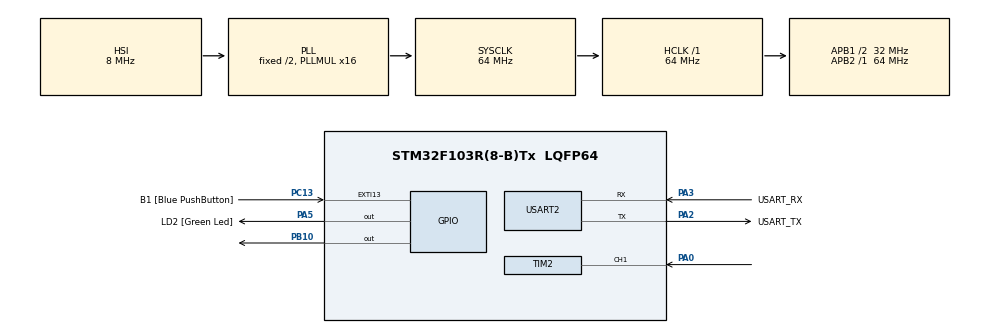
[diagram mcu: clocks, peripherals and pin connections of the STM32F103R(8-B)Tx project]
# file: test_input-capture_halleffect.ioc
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Dma.Request0=TIM2_CH1
Dma.TIM2_CH1.0.Direction=DMA_PERIPH_TO_MEMORY
Dma.TIM2_CH1.0.Instance=DMA1_Channel5
Dma.TIM2_CH1.0.MemDataAlignment=DMA_MDATAALIGN_WORD
Dma.TIM2_CH1.0.MemInc=DMA_MINC_ENABLE
Dma.TIM2_CH1.0.Mode=DMA_NORMAL
Dma.TIM2_CH1.0.PeriphDataAlignment=DMA_PDATAALIGN_WORD
Dma.TIM2_CH1.0.PeriphInc=DMA_PINC_DISABLE
Dma.TIM2_CH1.0.Priority=DMA_PRIORITY_LOW
Mcu.Family=STM32F1
Mcu.Name=STM32F103R(8-B)Tx
Mcu.Package=LQFP64
NVIC.EXTI15_10_IRQn=true\:0\:0\:false\:false\:true\:true\:true
NVIC.PriorityGroup=NVIC_PRIORITYGROUP_4
PA0-WKUP.Signal=S_TIM2_CH1_ETR
PA13.GPIO_Label=TMS
PA13.Mode=Serial_Wire
PA13.Signal=SYS_JTMS-SWDIO
PA14.GPIO_Label=TCK
PA14.Mode=Serial_Wire
PA14.Signal=SYS_JTCK-SWCLK
PA2.GPIO_Label=USART_TX
PA2.GPIO_Mode=GPIO_MODE_AF_PP
PA2.GPIO_PuPd=GPIO_NOPULL
PA2.GPIO_Speed=GPIO_SPEED_FREQ_LOW
PA2.Mode=Asynchronous
PA2.Signal=USART2_TX
PA3.GPIO_Label=USART_RX
PA3.GPIO_Mode=GPIO_MODE_AF_PP
PA3.GPIO_PuPd=GPIO_NOPULL
PA3.GPIO_Speed=GPIO_SPEED_FREQ_LOW
PA3.Mode=Asynchronous
PA3.Signal=USART2_RX
PA5.GPIO_Label=LD2 [Green Led]
PA5.GPIO_ModeDefaultOutputPP=GPIO_MODE_OUTPUT_PP
PA5.GPIO_PuPd=GPIO_NOPULL
PA5.GPIO_Speed=GPIO_SPEED_FREQ_LOW
PA5.Signal=GPIO_Output
PB10.Signal=GPIO_Output
PB3.GPIO_Label=SWO
PB3.Signal=SYS_JTDO-TRACESWO
PC13-TAMPER-RTC.GPIO_Label=B1 [Blue PushButton]
PC13-TAMPER-RTC.GPIO_PuPd=GPIO_NOPULL
PC13-TAMPER-RTC.Signal=GPXTI13
PC14-OSC32_IN.Mode=LSE-External-Oscillator
PC14-OSC32_IN.Signal=RCC_OSC32_IN
PC15-OSC32_OUT.Mode=LSE-External-Oscillator
PC15-OSC32_OUT.Signal=RCC_OSC32_OUT
PD0-OSC_IN.Mode=HSE-External-Clock-Source
PD0-OSC_IN.Signal=RCC_OSC_IN
PD1-OSC_OUT.Mode=HSE-External-Clock-Source
PD1-OSC_OUT.Signal=RCC_OSC_OUT
ProjectManager.HeapSize=0x200
ProjectManager.StackSize=0x400
ProjectManager.TargetToolchain=STM32CubeIDE
RCC.AHBFreq_Value=64000000
RCC.APB1CLKDivider=RCC_HCLK_DIV2
RCC.APB1Freq_Value=32000000
RCC.APB1TimFreq_Value=64000000
RCC.APB2Freq_Value=64000000
RCC.APB2TimFreq_Value=64000000
RCC.HCLKFreq_Value=64000000
RCC.PLLMUL=RCC_PLL_MUL16
RCC.RTCClockSelection=RCC_RTCCLKSOURCE_LSE
RCC.SYSCLKFreq_VALUE=64000000
RCC.SYSCLKSource=RCC_SYSCLKSOURCE_PLLCLK
RCC.USBFreq_Value=64000000
SH.S_TIM2_CH1_ETR.0=TIM2_CH1,Input_Capture1_from_TI1
TIM2.AutoReloadPreload=TIM_AUTORELOAD_PRELOAD_ENABLE
TIM2.Channel-Input_Capture1_from_TI1=TIM_CHANNEL_1
TIM2.ICPolarity_CH1=TIM_INPUTCHANNELPOLARITY_FALLING
USART2.VirtualMode=VM_ASYNC
board=NUCLEO-F103RB

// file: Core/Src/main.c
/* USER CODE BEGIN Header */
/**
  ******************************************************************************
  * @file           : main.c
  * @brief          : Main program body
  ******************************************************************************
  * @attention
  *
  * <h2><center>&copy; Copyright (c) 2021 STMicroelectronics.
  * All rights reserved.</center></h2>
  *
  * This software component is licensed by ST under BSD 3-Clause license,
  * the "License"; You may not use this file except in compliance with the
  * License. You may obtain a copy of the License at:
  *                        opensource.org/licenses/BSD-3-Clause
  *
  ******************************************************************************
  */
/*
 * 	INTRO:
	this is the SENT driver developped by David KAMANA with the help of Ahmed TOUMI in the process
	the lines generate by stm32cubeIDE are not commented
	Some comments about data types:

	- In the DMA data processing, the uint32_t is used  because in the hal library for dma, the start IC allows only "uint32_t"

	*/
	/* USER CODE END Header */
#include "main.h"

/* USER CODE BEGIN Includes */
#include "stdio.h"
/* USER CODE END Includes */

/* USER CODE BEGIN PD */

/*for computing the number of ticks : */
#define TIMFREQ  64000000 // the timer's clock frequency
#define PRESCALAR  1 //the timer's prescaler
#define TICKS_OF_SYNCHRO 56 //number of ticks in synchro
#define SIZE_TAB_ticks 16 //Size of the table of ticks

/*for DMA usage:*/

#define TIM_DMA_Buffer_SIZE 19 //the DMA buffer's size
#define TIM_DMA_FRAME_ticks_SIZE 9 //the size of the table of ticks corresponding to the values  in the DMA buffer

/*for SENT data processing:*/
#define SENT_data_SIZE 8 //the number of SENT data in a frame
#define LOWEST_TICKS 12 //the lowest number of ticks in a SENT frame
/* USER CODE END PD */

TIM_HandleTypeDef htim2;
DMA_HandleTypeDef hdma_tim2_ch1;

UART_HandleTypeDef huart2;

/* USER CODE BEGIN PV */

/*For ticks and frame ckeck:*/
//the table containing  the number of ticks to compare to:
float  tab_ticks[] = {56.0,12.0,13.0,14.0,15.0,16.0,17.0,18.0,19.0,20.0,21.0,22.0,23.0,24.0,25.0,26.0,27.0};
uint16_t NB_frames_ok = 0;//the number of frames that starts with the synchro data, used for debug purposes
uint8_t flag_frame_ok = 0;//the flag that is set if a frame starts with synchro data

/*for DMA:*/
uint32_t TICKS_tab_DMA[TIM_DMA_Buffer_SIZE];//a table that stores the number of ticks per  DMA Data
uint32_t tab_val_DMA[TIM_DMA_Buffer_SIZE];//the table that acts as the destination for DMA data transfer
uint32_t tab_vals[TIM_DMA_FRAME_ticks_SIZE];//the table of values that contain the number of ticks per DMA data if their frame starts with synchro data
uint16_t counter_DMA_requests = 0;//number of times DMA requests are executed i.e after 10 data transfer
HAL_StatusTypeDef DMA_available;//the variable that helps to check whether the DMA is available for the next transfer

/*for SENT protocol:*/
uint32_t SENT_data_tab[SENT_data_SIZE];
/* USER CODE END PV */

void SystemClock_Config(void);
static void MX_GPIO_Init(void);
static void MX_USART2_UART_Init(void);
static void MX_DMA_Init(void);
static void MX_TIM2_Init(void);

/* USER CODE BEGIN PFP */

/*For Computing number of ticks:*/
void tick_data_process(uint32_t* tab_src,  uint32_t* tab_dst);//assigns the DMA data to the corresponding number of ticks as long as the serie of  data starts with synchro
void fill_table_ticks(uint32_t* tab_source, uint32_t* tab_dest, uint32_t size_buffer);//function that computes the ticks corresponding to DMA data as long as the serie of  data starts with synchro
uint32_t compute_tick(float _width, float TAB_ticks[]);//function that computes the number of ticks
void BufferDMA_to_ticks(uint32_t* tab_1 , uint32_t* tab_2);//function that assigns the DMA data to the number of ticks
/*For Data processing :*/
void initialise_tab(uint32_t* tab, int len_tab);//function that reset the table values to zero
uint8_t set_flag_data_ok(uint32_t* tab_ticks);//function that sets a flag to indicate that the frame has as first data, the synchro data
float absolute_val(float x);//function that computes the absolute value of a number.
void data_SENT(uint32_t* tab_DMA_ticks, uint32_t* tab_data_SENT);//computes the SENT protocol data after we have got the number of ticks in a SENT frame
/*
Note that: I had to write the absolute value computing function because the "abs" function that already
exist in C  didnot give expected results.
*/

/* USER CODE END PFP */

int main(void)
{

  /* MCU Configuration--------------------------------------------------------*/

  /* Reset of all peripherals, Initializes the Flash interface and the Systick. */
  HAL_Init();

  /* Configure the system clock */
  SystemClock_Config();

  /* Initialize all configured peripherals */
  MX_GPIO_Init();
  MX_USART2_UART_Init();
  MX_DMA_Init();
  MX_TIM2_Init();

  /* USER CODE BEGIN 2 */

  //Starts for the first time, the DMA input capture mode
  HAL_TIM_IC_Start_DMA(&htim2, TIM_CHANNEL_1, tab_val_DMA, TIM_DMA_Buffer_SIZE);

  /* USER CODE END 2 */

  /* Infinite loop */
  /* USER CODE BEGIN WHILE */

  while (1)
  {
	  /*if I have the TCIF5 and HTCF5 flags set, I process my data:*/
	  if(((hdma_tim2_ch1.DmaBaseAddress->ISR) &= (DMA_ISR_TCIF1 << hdma_tim2_ch1.ChannelIndex)) == (DMA_ISR_TCIF1 << hdma_tim2_ch1.ChannelIndex))//transfer process is done
	  {
		  /*First of all, I initialize all tables, except the DMA buffer table:*/
		  initialise_tab(tab_vals, TIM_DMA_FRAME_ticks_SIZE);
		  initialise_tab(TICKS_tab_DMA, TIM_DMA_Buffer_SIZE);
		  initialise_tab(SENT_data_tab, SENT_data_SIZE);

		  //start of data processing
		  BufferDMA_to_ticks(tab_val_DMA , TICKS_tab_DMA);
		  tick_data_process(tab_val_DMA,tab_vals);
		  data_SENT(tab_vals, SENT_data_tab);
		  //end of data processing

		  //check if the  frame is OK i.e starts with synchro data:
		  flag_frame_ok = set_flag_data_ok(tab_vals);

		  //initialization of the DMA buffer table:

		  initialise_tab(tab_val_DMA, TIM_DMA_Buffer_SIZE);

		  counter_DMA_requests++;//I count the number of DMA requests

		  DMA_available =  HAL_TIM_IC_Stop_DMA(&htim2, TIM_CHANNEL_1);//to change the channel state to ready
		  while(DMA_available == HAL_BUSY){}//for caution, so as to not restart the DMA before it to be  available

		  HAL_TIM_IC_Start_DMA(&htim2, TIM_CHANNEL_1, tab_val_DMA, TIM_DMA_Buffer_SIZE);//I restart the DMA when all the conditions are met
	  }
	  if(flag_frame_ok)
	  {
		  NB_frames_ok++;//I count the number of frame that are ok
		  flag_frame_ok = 0;//reset the flag
	  }

  }
    /* USER CODE END WHILE */

}

void SystemClock_Config(void)
{
  RCC_OscInitTypeDef RCC_OscInitStruct = {0};
  RCC_ClkInitTypeDef RCC_ClkInitStruct = {0};

  /** Initializes the RCC Oscillators according to the specified parameters
  * in the RCC_OscInitTypeDef structure.
  */
  RCC_OscInitStruct.OscillatorType = RCC_OSCILLATORTYPE_HSI;
  RCC_OscInitStruct.HSIState = RCC_HSI_ON;
  RCC_OscInitStruct.HSICalibrationValue = RCC_HSICALIBRATION_DEFAULT;
  RCC_OscInitStruct.PLL.PLLState = RCC_PLL_ON;
  RCC_OscInitStruct.PLL.PLLSource = RCC_PLLSOURCE_HSI_DIV2;
  RCC_OscInitStruct.PLL.PLLMUL = RCC_PLL_MUL16;
  if (HAL_RCC_OscConfig(&RCC_OscInitStruct) != HAL_OK)
  {
    Error_Handler();
  }
  /** Initializes the CPU, AHB and APB buses clocks
  */
  RCC_ClkInitStruct.ClockType = RCC_CLOCKTYPE_HCLK|RCC_CLOCKTYPE_SYSCLK
                              |RCC_CLOCKTYPE_PCLK1|RCC_CLOCKTYPE_PCLK2;
  RCC_ClkInitStruct.SYSCLKSource = RCC_SYSCLKSOURCE_PLLCLK;
  RCC_ClkInitStruct.AHBCLKDivider = RCC_SYSCLK_DIV1;
  RCC_ClkInitStruct.APB1CLKDivider = RCC_HCLK_DIV2;
  RCC_ClkInitStruct.APB2CLKDivider = RCC_HCLK_DIV1;

  if (HAL_RCC_ClockConfig(&RCC_ClkInitStruct, FLASH_LATENCY_2) != HAL_OK)
  {
    Error_Handler();
  }
}

static void MX_TIM2_Init(void)
{

  TIM_MasterConfigTypeDef sMasterConfig = {0};
  TIM_IC_InitTypeDef sConfigIC = {0};

  htim2.Instance = TIM2;
  htim2.Init.Prescaler = 0;
  htim2.Init.CounterMode = TIM_COUNTERMODE_UP;
  htim2.Init.Period = 65535;
  htim2.Init.ClockDivision = TIM_CLOCKDIVISION_DIV1;
  htim2.Init.AutoReloadPreload = TIM_AUTORELOAD_PRELOAD_ENABLE;
  if (HAL_TIM_IC_Init(&htim2) != HAL_OK)
  {
    Error_Handler();
  }
  sMasterConfig.MasterOutputTrigger = TIM_TRGO_RESET;
  sMasterConfig.MasterSlaveMode = TIM_MASTERSLAVEMODE_DISABLE;
  if (HAL_TIMEx_MasterConfigSynchronization(&htim2, &sMasterConfig) != HAL_OK)
  {
    Error_Handler();
  }
  sConfigIC.ICPolarity = TIM_INPUTCHANNELPOLARITY_FALLING;
  sConfigIC.ICSelection = TIM_ICSELECTION_DIRECTTI;
  sConfigIC.ICPrescaler = TIM_ICPSC_DIV1;
  sConfigIC.ICFilter = 0;
  if (HAL_TIM_IC_ConfigChannel(&htim2, &sConfigIC, TIM_CHANNEL_1) != HAL_OK)
  {
    Error_Handler();
  }

}

static void MX_USART2_UART_Init(void)
{

  huart2.Instance = USART2;
  huart2.Init.BaudRate = 115200;
  huart2.Init.WordLength = UART_WORDLENGTH_8B;
  huart2.Init.StopBits = UART_STOPBITS_1;
  huart2.Init.Parity = UART_PARITY_NONE;
  huart2.Init.Mode = UART_MODE_TX_RX;
  huart2.Init.HwFlowCtl = UART_HWCONTROL_NONE;
  huart2.Init.OverSampling = UART_OVERSAMPLING_16;
  if (HAL_UART_Init(&huart2) != HAL_OK)
  {
    Error_Handler();
  }

}

static void MX_DMA_Init(void)
{

  /* DMA controller clock enable */
  __HAL_RCC_DMA1_CLK_ENABLE();

}

static void MX_GPIO_Init(void)
{
  GPIO_InitTypeDef GPIO_InitStruct = {0};

  /* GPIO Ports Clock Enable */
  __HAL_RCC_GPIOC_CLK_ENABLE();
  __HAL_RCC_GPIOD_CLK_ENABLE();
  __HAL_RCC_GPIOA_CLK_ENABLE();
  __HAL_RCC_GPIOB_CLK_ENABLE();

  /*Configure GPIO pin Output Level */
  HAL_GPIO_WritePin(LD2_GPIO_Port, LD2_Pin, GPIO_PIN_RESET);

  /*Configure GPIO pin Output Level */
  HAL_GPIO_WritePin(GPIOB, GPIO_PIN_10, GPIO_PIN_RESET);

  /*Configure GPIO pin : B1_Pin */
  GPIO_InitStruct.Pin = B1_Pin;
  GPIO_InitStruct.Mode = GPIO_MODE_IT_RISING;
  GPIO_InitStruct.Pull = GPIO_NOPULL;
  HAL_GPIO_Init(B1_GPIO_Port, &GPIO_InitStruct);

  /*Configure GPIO pin : LD2_Pin */
  GPIO_InitStruct.Pin = LD2_Pin;
  GPIO_InitStruct.Mode = GPIO_MODE_OUTPUT_PP;
  GPIO_InitStruct.Pull = GPIO_NOPULL;
  GPIO_InitStruct.Speed = GPIO_SPEED_FREQ_LOW;
  HAL_GPIO_Init(LD2_GPIO_Port, &GPIO_InitStruct);

  /*Configure GPIO pin : PB10 */
  GPIO_InitStruct.Pin = GPIO_PIN_10;
  GPIO_InitStruct.Mode = GPIO_MODE_OUTPUT_PP;
  GPIO_InitStruct.Pull = GPIO_NOPULL;
  GPIO_InitStruct.Speed = GPIO_SPEED_FREQ_LOW;
  HAL_GPIO_Init(GPIOB, &GPIO_InitStruct);

  /* EXTI interrupt init*/
  HAL_NVIC_SetPriority(EXTI15_10_IRQn, 0, 0);
  HAL_NVIC_EnableIRQ(EXTI15_10_IRQn);

}

/* USER CODE BEGIN 4 */

void tick_data_process(uint32_t* tab_src,  uint32_t* tab_dst)
{
	uint32_t b = 0;
	uint32_t p = 0;
	uint32_t IC_Val1 = 0;
	uint32_t IC_Val2 = 0;
	uint32_t Difference = 0;
	uint32_t tab_buffer[TIM_DMA_Buffer_SIZE];

	double  usWidth = 0;
	double refClock = 0;
	double mFactor = 0 ;

	refClock = TIMFREQ/(PRESCALAR);
	mFactor = 1000000/refClock;

	for(uint32_t j = 0; j < TIM_DMA_Buffer_SIZE; j++)
	{
		IC_Val1 = tab_src[j];//read the first value
		p = j + 1;
		IC_Val2 = tab_src[p];  // read the second value
		if (IC_Val2 > IC_Val1)
		{
			  Difference = IC_Val2-IC_Val1;

		}
		else if (IC_Val1 > IC_Val2)
		{
			Difference = (65535 - IC_Val1) + IC_Val2;

		}
		usWidth = Difference*mFactor;
		tab_buffer[b] = compute_tick(usWidth,tab_ticks);//this only gets 18 values-->18 differences of 19 falling edges values
		b++;
	}
	fill_table_ticks(tab_buffer, tab_dst, TIM_DMA_Buffer_SIZE);

	initialise_tab(tab_buffer, TIM_DMA_Buffer_SIZE);

}
void initialise_tab(uint32_t* tab, int len_tab)
{
	for(int n = 0; n < len_tab ; n++)
	{
		tab[n] = 0;
	}
}
uint32_t compute_tick(float _width, float TAB_ticks[])
{
	float _quotient =  0;
	float _min = 0;
	float _diff = 0;
	float _val_abs = 0;
	float tick_time = 3.0;
	int indice_min = 0;
	_quotient = _width/TAB_ticks[indice_min];
	_diff = tick_time - _quotient;
	_val_abs = absolute_val(_diff);
	_min = _val_abs;
	for(int i = 1; i < SIZE_TAB_ticks; i++)
	{
		_quotient = _width/TAB_ticks[i];
		_diff = 3.0 - _quotient;
		_val_abs = absolute_val(_diff);
		if(_min > _val_abs )
		{
			_min = _val_abs;
			indice_min = i;
		}

	}
	return (uint32_t)TAB_ticks[indice_min];
}
uint8_t set_flag_data_ok(uint32_t* tab_ticks)
{
	uint8_t flag_ticks_ok = 0;

	if(tab_ticks[0] == TICKS_OF_SYNCHRO)
	{
		flag_ticks_ok = 1;//set the flag if the start of the  frame is 56 ticks
	}
	return flag_ticks_ok;
}
void fill_table_ticks(uint32_t* tab_source, uint32_t* tab_dest, uint32_t size_buffer)
{
	uint32_t k = 0;
	uint32_t n = 0;
	for(n = 0; n < size_buffer; n++)
	{
		k = n+1;
		if(tab_source[n] == TICKS_OF_SYNCHRO)
		{
			if(tab_source[k] == TICKS_OF_SYNCHRO)
			{
				n++;
			}
			for(uint32_t l = 0; l < TIM_DMA_FRAME_ticks_SIZE ; l++)
			{
				tab_dest[l] = tab_source[n];
				if(n < size_buffer)
				{
					n++;
				}
				else
				{
					return;//in case we went through all the elements of the source table
				}

			}
			return;

		}

	}

}
void data_SENT(uint32_t* tab_DMA_ticks, uint32_t* tab_data_SENT)
{
	uint32_t i = 0;//index to be used in table data processing
	if(tab_DMA_ticks[i] == 56)//when we are sure to have a SENT data frame
	{
		i++;//start process data after the synchro
		for(uint32_t j = 0; j < SENT_data_SIZE; j++)
		{
			tab_data_SENT[j] = tab_DMA_ticks[i] - LOWEST_TICKS;
		}
	}
}
void BufferDMA_to_ticks(uint32_t* tab_1 , uint32_t* tab_2)
{
		uint32_t b = 0;
		uint32_t p = 0;
		uint32_t IC_Val1 = 0;
		uint32_t IC_Val2 = 0;
		uint32_t Difference = 0;

		double  usWidth = 0;
		double refClock = 0;
		double mFactor = 0 ;

		refClock = TIMFREQ/(PRESCALAR);
		mFactor = 1000000/refClock;

		for(uint32_t j = 0; j < TIM_DMA_Buffer_SIZE; j++)
		{
			IC_Val1 = tab_1[j];//read the first value
			p = j + 1;
			IC_Val2 = tab_1[p];  // read the second value
			if (IC_Val2 > IC_Val1)
			{
				  Difference = IC_Val2-IC_Val1;

			}
			else if (IC_Val1 > IC_Val2)
			{
				Difference = (65535 - IC_Val1) + IC_Val2;

			}
			usWidth = Difference*mFactor;
			tab_2[b] = compute_tick(usWidth,tab_ticks);//this only gets 18 values-->18 differences of 19 falling edges values
			b++;
		}
}
float absolute_val(float x)
{
	float val_abs;
	if (x < 0)
	{
		val_abs = -x;
	}
	else
		val_abs = x;

	return val_abs;
}

/* USER CODE END 4 */

void Error_Handler(void)
{
  __disable_irq();
  while (1)
  {
  }
}

/************************ (C) COPYRIGHT STMicroelectronics *****END OF FILE****/
